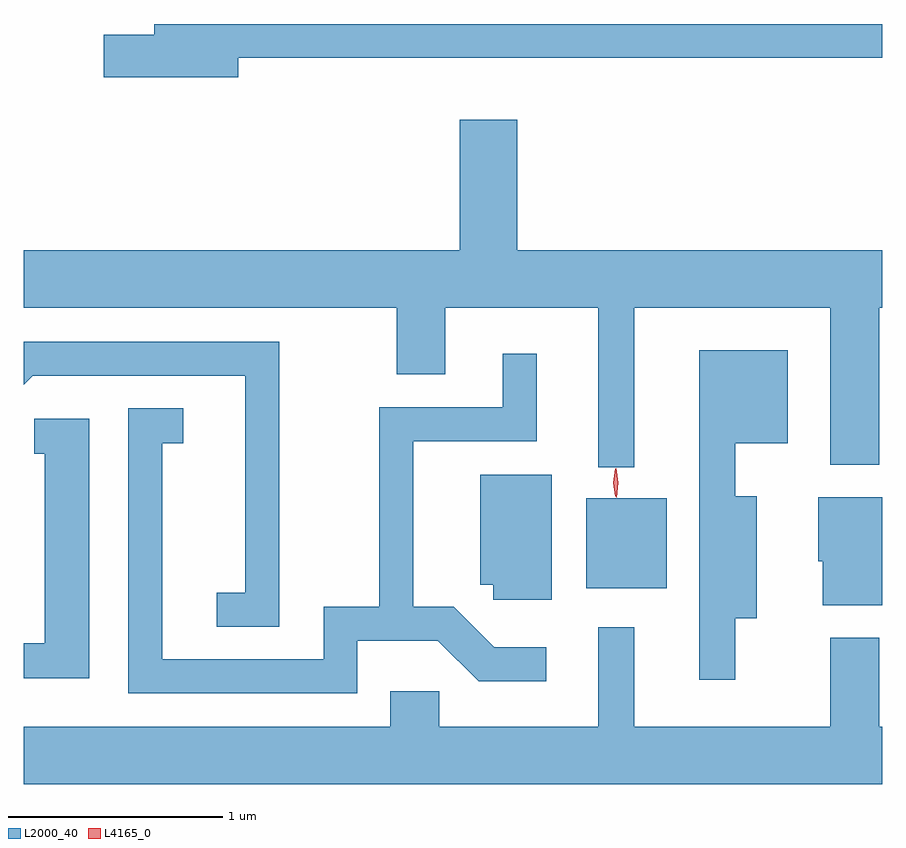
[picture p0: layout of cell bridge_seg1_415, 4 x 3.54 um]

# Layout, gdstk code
import gdstk
lib = gdstk.Library(unit=1e-6, precision=1e-09)
def R(c, l, rs):  # rectangles x0, y0, x1, y1
    for r in rs: c.add(gdstk.rectangle(r[:2], r[2:], *l))
def P(c, l, *ps):  # polygons
    for p in ps: c.add(gdstk.Polygon(p, *l))
L2000_40 = (2000, 40)
L4165_0 = (4165, 0)

bridge_seg1_415 = lib.new_cell('bridge_seg1_415')
R(bridge_seg1_415, L2000_40, [(195.686,918.251,196.059,918.669)])
P(bridge_seg1_415, L2000_40, [(194.064,920.721),(197.064,920.721),(197.064,920.879),(193.671,920.879),(193.671,920.829),(193.436,920.829),(193.436,920.631),(194.064,920.631)],
  [(195.909,919.556),(196.821,919.556),(196.821,918.826),(197.049,918.826),(197.049,919.556),(197.064,919.556),(197.064,919.824),(195.364,919.824),(195.364,920.434),(195.096,920.434),(195.096,919.824),(193.064,919.824),(193.064,919.556),(194.801,919.556),(194.801,919.246),(195.029,919.246),(195.029,919.556),(195.741,919.556),(195.741,918.813),(195.909,918.813)],
  [(194.254,919.399),(193.064,919.399),(193.064,919.198),(193.107,919.241),(194.096,919.241),(194.096,918.229),(193.963,918.229),(193.963,918.071),(194.254,918.071)],
  [(196.379,918.111),(196.479,918.111),(196.479,918.679),(196.379,918.679),(196.379,918.926),(196.624,918.926),(196.624,919.359),(196.211,919.359),(196.211,917.823),(196.379,917.823)],
  [(194.619,918.006),(194.994,918.006),(195.184,917.816),(195.498,917.816),(195.498,917.974),(195.257,917.974),(195.067,918.164),(194.879,918.164),(194.879,918.936),(195.454,918.936),(195.454,919.343),(195.296,919.343),(195.296,919.094),(194.721,919.094),(194.721,918.164),(194.461,918.164),(194.461,917.919),(193.709,917.919),(193.709,918.926),(193.808,918.926),(193.808,919.089),(193.551,919.089),(193.551,917.761),(194.619,917.761)],
  [(193.369,919.039),(193.113,919.039),(193.113,918.876),(193.161,918.876),(193.161,917.994),(193.064,917.994),(193.064,917.831),(193.369,917.831)],
  [(195.524,918.779),(195.191,918.779),(195.191,918.266),(195.251,918.266),(195.251,918.196),(195.524,918.196)],
  [(197.064,918.674),(196.766,918.674),(196.766,918.376),(196.786,918.376),(196.786,918.171),(197.064,918.171)],
  [(197.064,917.604),(197.049,917.604),(197.049,918.019),(196.821,918.019),(196.821,917.604),(195.909,917.604),(195.909,918.068),(195.741,918.068),(195.741,917.604),(194.999,917.604),(194.999,917.769),(194.771,917.769),(194.771,917.604),(193.064,917.604),(193.064,917.338),(197.064,917.338)])
P(bridge_seg1_415, L4165_0, [(195.821,918.678),(195.821,918.678),(195.811,918.742),(195.821,918.807),(195.821,918.807),(195.822,918.807),(195.831,918.742),(195.822,918.678)],
  [(195.825,918.674),(195.825,918.674),(195.815,918.742),(195.824,918.81),(195.825,918.81),(195.825,918.81),(195.835,918.742),(195.826,918.674)])

lib.write_gds('bridge_seg1_415.gds')
